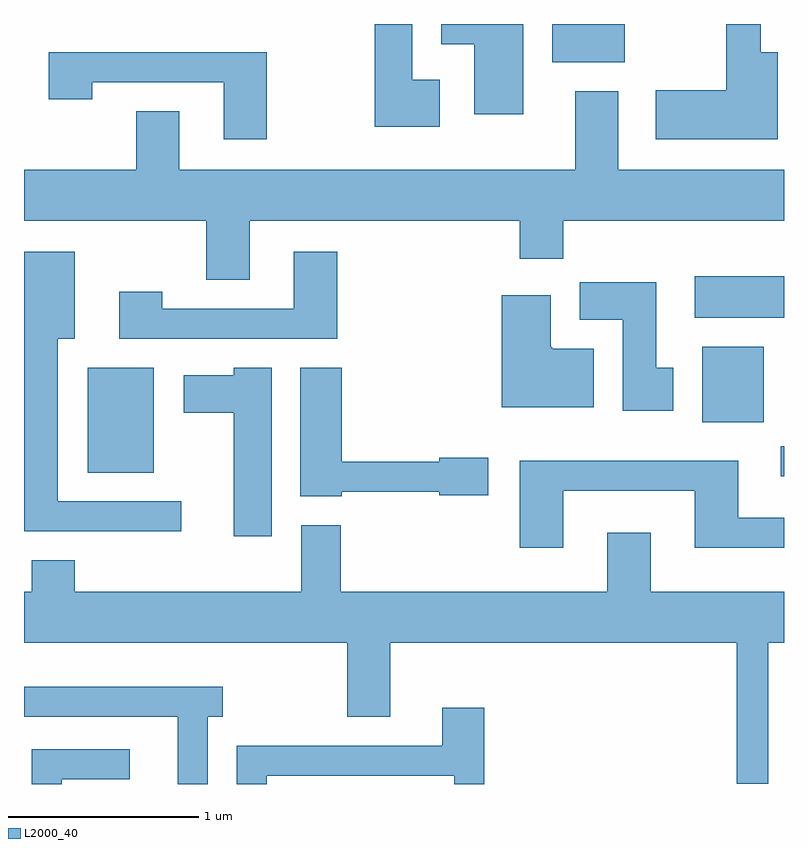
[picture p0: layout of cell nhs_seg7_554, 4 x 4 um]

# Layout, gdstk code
import gdstk
lib = gdstk.Library(unit=1e-6, precision=1e-09)
def R(c, l, rs):  # rectangles x0, y0, x1, y1
    for r in rs: c.add(gdstk.rectangle(r[:2], r[2:], *l))
def P(c, l, *ps):  # polygons
    for p in ps: c.add(gdstk.Polygon(p, *l))
L2000_40 = (2000, 40)

nhs_seg7_554 = lib.new_cell('nhs_seg7_554')
R(nhs_seg7_554, L2000_40, [(205.593,1701.871,205.611,1702.029), (201.946,1701.891,202.294,1702.444), (205.181,1702.156,205.504,1702.554), (205.141,1702.706,205.611,1702.924), (204.391,1704.051,204.774,1704.252)])
P(nhs_seg7_554, L2000_40, [(205.579,1704.104),(205.489,1704.104),(205.489,1704.252),(205.306,1704.252),(205.306,1703.904),(204.936,1703.904),(204.936,1703.646),(205.579,1703.646)],
  [(203.799,1703.959),(203.654,1703.959),(203.654,1704.252),(203.456,1704.252),(203.456,1703.711),(203.799,1703.711)],
  [(204.239,1704.252),(203.806,1704.252),(203.806,1704.146),(203.981,1704.146),(203.981,1703.776),(204.239,1703.776)],
  [(202.889,1704.104),(201.741,1704.104),(201.741,1703.856),(201.969,1703.856),(201.969,1703.946),(202.661,1703.946),(202.661,1703.646),(202.889,1703.646)],
  [(202.799,1703.216),(204.221,1703.216),(204.221,1703.016),(204.449,1703.016),(204.449,1703.216),(205.611,1703.216),(205.611,1703.484),(204.739,1703.484),(204.739,1703.899),(204.511,1703.899),(204.511,1703.484),(202.429,1703.484),(202.429,1703.794),(202.201,1703.794),(202.201,1703.484),(201.611,1703.484),(201.611,1703.216),(202.571,1703.216),(202.571,1702.906),(202.799,1702.906)],
  [(203.259,1703.054),(203.031,1703.054),(203.031,1702.754),(202.339,1702.754),(202.339,1702.844),(202.111,1702.844),(202.111,1702.596),(203.259,1702.596)],
  [(202.438,1701.739),(201.789,1701.739),(201.789,1702.596),(201.879,1702.596),(201.879,1703.054),(201.611,1703.054),(201.611,1701.581),(202.438,1701.581)],
  [(205.029,1702.444),(204.939,1702.444),(204.939,1702.894),(204.536,1702.894),(204.536,1702.696),(204.761,1702.696),(204.761,1702.216),(205.029,1702.216)],
  [(204.609,1702.544),(204.39,1702.544),(204.39,1702.55),(204.384,1702.55),(204.384,1702.824),(204.126,1702.824),(204.126,1702.236),(204.609,1702.236)],
  [(203.284,1701.791),(203.796,1701.791),(203.796,1701.771),(204.054,1701.771),(204.054,1701.969),(203.796,1701.969),(203.796,1701.949),(203.284,1701.949),(203.284,1702.444),(203.066,1702.444),(203.066,1701.766),(203.284,1701.766)],
  [(202.914,1702.444),(202.716,1702.444),(202.716,1702.404),(202.451,1702.404),(202.451,1702.206),(202.716,1702.206),(202.716,1701.556),(202.914,1701.556)],
  [(204.449,1701.796),(205.141,1701.796),(205.141,1701.496),(205.611,1701.496),(205.611,1701.654),(205.369,1701.654),(205.369,1701.954),(204.221,1701.954),(204.221,1701.496),(204.449,1701.496)],
  [(205.529,1700.996),(205.611,1700.996),(205.611,1701.264),(204.909,1701.264),(204.909,1701.574),(204.681,1701.574),(204.681,1701.264),(203.279,1701.264),(203.279,1701.614),(203.071,1701.614),(203.071,1701.264),(201.879,1701.264),(201.879,1701.429),(201.651,1701.429),(201.651,1701.264),(201.611,1701.264),(201.611,1700.996),(203.311,1700.996),(203.311,1700.606),(203.539,1700.606),(203.539,1700.996),(205.361,1700.996),(205.361,1700.253),(205.529,1700.253)],
  [(202.579,1700.606),(202.658,1700.606),(202.658,1700.764),(201.611,1700.764),(201.611,1700.606),(202.421,1700.606),(202.421,1700.252),(202.579,1700.252)],
  [(202.889,1700.296),(203.876,1700.296),(203.876,1700.252),(204.034,1700.252),(204.034,1700.654),(203.811,1700.654),(203.811,1700.454),(202.731,1700.454),(202.731,1700.252),(202.889,1700.252)],
  [(201.809,1700.276),(202.168,1700.276),(202.168,1700.434),(201.651,1700.434),(201.651,1700.252),(201.809,1700.252)])

lib.write_gds('nhs_seg7_554.gds')
